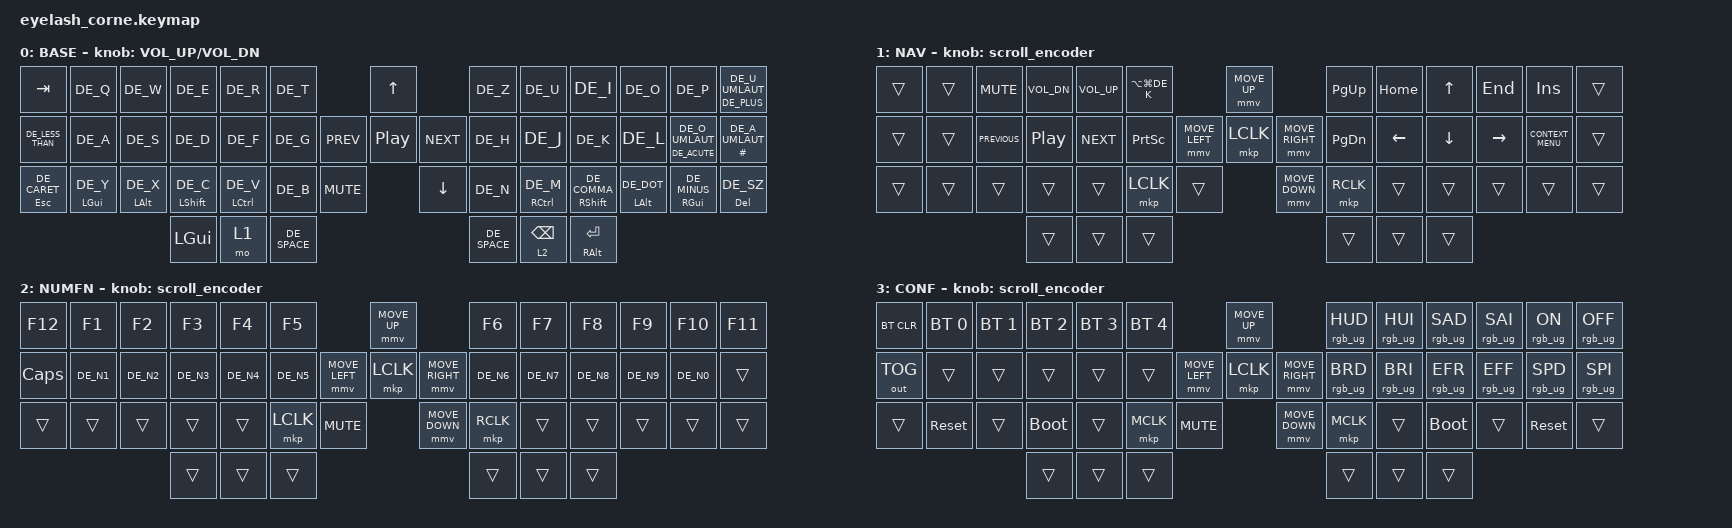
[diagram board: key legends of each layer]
#define ZMK_POINTING_DEFAULT_MOVE_VAL 1200  // 600
#define ZMK_POINTING_DEFAULT_SCRL_VAL 25   // 10

#include "keys_de.h"
#include <input/processors.dtsi>
#include <zephyr/dt-bindings/input/input-event-codes.h>
#include <behaviors.dtsi>
#include <dt-bindings/zmk/bt.h>
#include <dt-bindings/zmk/keys.h>
#include <dt-bindings/zmk/outputs.h>
#include <dt-bindings/zmk/pointing.h>
#include <dt-bindings/zmk/rgb.h>

&mmv_input_listener { input-processors = <&zip_xy_scaler 2 1>; };

&msc_input_listener { input-processors = <&zip_scroll_scaler 2 1>; };

&msc {
    acceleration-exponent = <1>;      // 0
    time-to-max-speed-ms = <100>;       // 300
    delay-ms = <0>;                   // 0
};

&mmv {
    time-to-max-speed-ms = <500>;
    acceleration-exponent = <1>;
    trigger-period-ms = <16>;
};

&soft_off { hold-time-ms = <2000>; };

/ {
    behaviors {
        td0: td0 {
            compatible = "zmk,behavior-tap-dance";
            display-name = "Shift/Caps Lock Tap Dance";
            #binding-cells = <0>;
            bindings = <&kp LEFT_SHIFT>, <&kp CAPS>;
        };

        BRMShiftR: BRMShiftR {
            compatible = "zmk,behavior-hold-tap";
            label = "BRMSHIFTR";
            bindings = <&kp>, <&kp>;

            #binding-cells = <2>;
            tapping-term-ms = <200>;
            hold-trigger-key-positions = <13 0 44 30 16 15 14 2 1 3 5 4 32 17 18 43 33 34 42 31 29 28>;
            flavor = "balanced";
        };

        BRMShiftL: BRMShiftL {
            compatible = "zmk,behavior-hold-tap";
            label = "BRMSHIFTL";
            bindings = <&kp>, <&kp>;

            #binding-cells = <2>;
            tapping-term-ms = <200>;
            hold-trigger-key-positions = <24 7 22 23 8 36 37 45 46 47 38 9 10 25 39 40 26 11 12 27 41>;
            flavor = "balanced";
        };

        BRMR: BRMR {
            compatible = "zmk,behavior-hold-tap";
            label = "BRMR";
            bindings = <&kp>, <&kp>;

            #binding-cells = <2>;
            tapping-term-ms = <200>;
            hold-trigger-key-positions = <13 0 44 30 16 15 14 2 1 3 5 4 32 17 18 43 33 34 42 31 29 28>;
            flavor = "tap-preferred";
        };

        BRML: BRML {
            compatible = "zmk,behavior-hold-tap";
            label = "BRML";
            bindings = <&kp>, <&kp>;

            #binding-cells = <2>;
            tapping-term-ms = <200>;
            hold-trigger-key-positions = <24 7 22 23 8 36 37 45 46 47 38 9 10 25 39 40 26 11 12 27 41>;
        };

        mt2: mt2 {
            compatible = "zmk,behavior-hold-tap";
            label = "MT2";
            bindings = <&kp>, <&kp>;

            #binding-cells = <2>;
            tapping-term-ms = <200>;
            quick-tap-ms = <180>;
            flavor = "tap-preferred";
        };

        lt2: lt2 {
            compatible = "zmk,behavior-hold-tap";
            label = "LT2";
            bindings = <&mo>, <&kp>;

            #binding-cells = <2>;
            tapping-term-ms = <200>;
            quick-tap-ms = <180>;
            flavor = "tap-preferred";
        };
    };

    rgb_encoder: rgb_encoder {
        compatible = "zmk,behavior-sensor-rotate";
        #sensor-binding-cells = <0>;
        bindings = <&rgb_ug RGB_BRI>, <&rgb_ug RGB_BRD>;
    };

    scroll_encoder: scroll_encoder {
        compatible = "zmk,behavior-sensor-rotate";
        #sensor-binding-cells = <0>;
        bindings = <&msc SCRL_DOWN>, <&msc SCRL_UP>;

        tap-ms = <100>;
    };

    combos { compatible = "zmk,combos"; };

    keymap {
        compatible = "zmk,keymap";

        BASE {
            display-name = "BASE";
            bindings = <
&kp TAB              &kp DE_Q             &kp DE_W             &kp DE_E                    &kp DE_R                 &kp DE_T                                &kp UP                        &kp DE_Z      &kp DE_U                  &kp DE_I                         &kp DE_O               &kp DE_P                  &mt DE_PLUS DE_U_UMLAUT
&kp DE_LESS_THAN     &kp DE_A             &kp DE_S             &kp DE_D                    &kp DE_F                 &kp DE_G                    &kp C_PREV  &kp C_PLAY_PAUSE  &kp C_NEXT  &kp DE_H      &kp DE_J                  &kp DE_K                         &kp DE_L               &mt DE_ACUTE DE_O_UMLAUT  &mt HASH DE_A_UMLAUT
&mt ESCAPE DE_CARET  &BRML LEFT_GUI DE_Y  &BRML LEFT_ALT DE_X  &BRMShiftL LEFT_SHIFT DE_C  &BRML LEFT_CONTROL DE_V  &kp DE_B      &kp C_MUTE                &kp DOWN                      &kp DE_N      &BRMR RIGHT_CONTROL DE_M  &BRMShiftR RIGHT_SHIFT DE_COMMA  &BRMR LEFT_ALT DE_DOT  &BRMR RIGHT_GUI DE_MINUS  &mt DELETE DE_SZ
                                                               &kp LEFT_GUI                &mo 1                    &kp DE_SPACE                                                          &kp DE_SPACE  &lt2 2 BACKSPACE          &mt2 RALT ENTER
            >;

            sensor-bindings = <&inc_dec_kp C_VOLUME_UP C_VOL_DN>;
            label = "BASE";
        };

        NAV {
            display-name = "NAV";
            bindings = <
&trans  &trans  &kp C_MUTE      &kp C_VOL_DN      &kp C_VOL_UP  &kp LA(LG(DE_K))                            &mmv MOVE_UP                     &kp PAGE_UP    &kp HOME        &kp UP_ARROW    &kp END          &kp INSERT          &trans
&trans  &trans  &kp C_PREVIOUS  &kp C_PLAY_PAUSE  &kp C_NEXT    &kp PRINTSCREEN             &mmv MOVE_LEFT  &mkp LCLK       &mmv MOVE_RIGHT  &kp PAGE_DOWN  &kp LEFT_ARROW  &kp DOWN_ARROW  &kp RIGHT_ARROW  &kp K_CONTEXT_MENU  &trans
&trans  &trans  &trans          &trans            &trans        &mkp LCLK         &trans                    &mmv MOVE_DOWN                   &mkp RCLK      &trans          &trans          &trans           &trans              &trans
                                &trans            &trans        &trans                                                                       &trans         &trans          &trans
            >;

            sensor-bindings = <&scroll_encoder>;
            label = "NAV";
        };

        NUMFN {
            display-name = "NUMFN";
            bindings = <
&kp F12       &kp F1     &kp F2     &kp F3     &kp F4     &kp F5                                   &mmv MOVE_UP                     &kp F6     &kp F7     &kp F8     &kp F9     &kp F10    &kp F11
&kp CAPSLOCK  &kp DE_N1  &kp DE_N2  &kp DE_N3  &kp DE_N4  &kp DE_N5                &mmv MOVE_LEFT  &mkp LCLK       &mmv MOVE_RIGHT  &kp DE_N6  &kp DE_N7  &kp DE_N8  &kp DE_N9  &kp DE_N0  &trans
&trans        &trans     &trans     &trans     &trans     &mkp LCLK  &kp C_MUTE                    &mmv MOVE_DOWN                   &mkp RCLK  &trans     &trans     &trans     &trans     &trans
                                    &trans     &trans     &trans                                                                    &trans     &trans     &trans
            >;

            sensor-bindings = <&scroll_encoder>;
            label = "NUMFN";
        };

        CONF {
            display-name = "CONF";
            bindings = <
&bt BT_CLR    &bt BT_SEL 0  &bt BT_SEL 1  &bt BT_SEL 2  &bt BT_SEL 3  &bt BT_SEL 4                                &mmv MOVE_UP                     &rgb_ug RGB_HUD  &rgb_ug RGB_HUI  &rgb_ug RGB_SAD  &rgb_ug RGB_SAI  &rgb_ug RGB_ON   &rgb_ug RGB_OFF
&out OUT_TOG  &trans        &trans        &trans        &trans        &trans                      &mmv MOVE_LEFT  &mkp LCLK       &mmv MOVE_RIGHT  &rgb_ug RGB_BRD  &rgb_ug RGB_BRI  &rgb_ug RGB_EFR  &rgb_ug RGB_EFF  &rgb_ug RGB_SPD  &rgb_ug RGB_SPI
&trans        &sys_reset    &trans        &bootloader   &trans        &mkp MCLK     &kp C_MUTE                    &mmv MOVE_DOWN                   &mkp MCLK        &trans           &bootloader      &trans           &sys_reset       &trans
                                          &trans        &trans        &trans                                                                       &trans           &trans           &trans
            >;

            sensor-bindings = <&scroll_encoder>;
            label = "CONF";
        };
    };

    conditional_layers {
        compatible = "zmk,conditional-layers";

        Layer3 {
            if-layers = <2 1>;
            then-layer = <3>;
        };
    };
};
